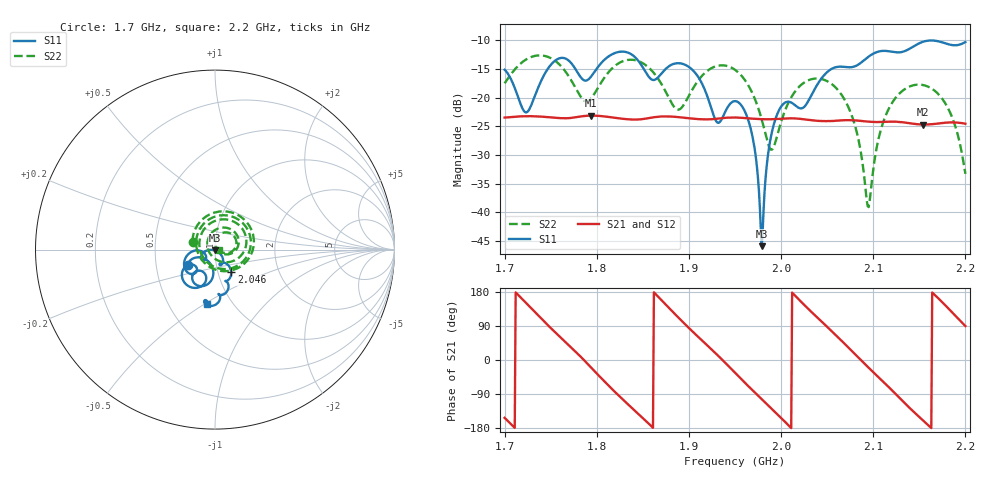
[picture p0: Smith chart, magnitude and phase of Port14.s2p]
# Hz S RI R 50
! CMT, CMT808U, 21440046, 21.4.3/4
! Date: 12/11/2025 6:04:37 PM
! Data: Format (Calibration Info)
! Freq	S11:Re/Im(F2)	S41:Re/Im(F2)	S14:Re/Im(F2)	S44:Re/Im(F2)
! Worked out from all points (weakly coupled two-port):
!   501 points, 1.7 GHz to 2.2 GHz, reference 50 ohm
!   highest |S21| = -23.13 dB at 1.794 GHz (marker M1); lowest = -24.7 dB at 2.154 GHz (marker M2)
!   lowest |S11| = -45.9 dB at 1.979 GHz (marker M3), VSWR 1.01, Z = 49.8 - j0.472 ohm
!   |S11| at or under -10 dB: start of sweep to end of sweep
!   |S22| runs from -39.1 to -12.6 dB; largest |S21 - S12| = 0.00068
!   S11 on the Smith chart (normalised r, x): 1.7 GHz: 0.73, -0.13; 2.046 GHz: 1.16, -0.30; 2.2 GHz: 0.77, -0.51
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1.7e9  -0.152 -0.0871  -0.0594 -0.0308  -0.0591 -0.0311  -0.1253 0.045
1.723e9  -0.0458 -0.0584  -0.0603 0.0333  -0.0603 0.0328  0.0286 0.2124
1.757e9  -0.0718 -0.2037  0.0249 0.0617  0.0244 0.0617  0.2011 -0.0269
1.784e9  -0.0871 -0.1171  0.0684 0.00611  0.0682 0.00658  -0.0392 -0.0903
1.794e9  -0.0512 -0.1444  0.0654 -0.0242  0.0654 -0.0236  -0.0983 -0.00821
1.831e9  -0.1691 -0.185  -0.0227 -0.0609  -0.0222 -0.0609  0.1226 0.1718
1.867e9  -0.1003 -0.1136  -0.0661 0.0164  -0.0662 0.0159  0.1051 -0.0991
1.889e9  -0.1624 -0.116  -0.024 0.063  -0.0245 0.0627  -0.0703 -0.0353
1.931e9  -0.0549 -0.0255  0.0638 0.0146  0.0636 0.0152  0.1174 0.1487
1.95e9  -0.0743 -0.0561  0.0558 -0.0371  0.056 -0.0366  0.1732 0.0244
1.968e9  -0.0492 -0.00678  0.0143 -0.064  0.0148 -0.0638  0.0911 -0.0667
1.979e9  -0.00176 -0.00474  -0.015 -0.0632  -0.0144 -0.0631  0.0182 -0.0616
1.986e9  0.0256 -0.0202  -0.0321 -0.0563  -0.0315 -0.0564  -0.0181 -0.0351
1.995e9  0.0445 -0.0528  -0.0503 -0.0411  -0.0499 -0.0415  -0.0415 0.015
2.034e9  0.0702 -0.0833  -0.0357 0.0523  -0.0361 0.052  0.099 0.1064
2.046e9  0.0905 -0.1255  -0.00724 0.0619  -0.00786 0.0619  0.13 0.0609
2.076e9  0.0581 -0.1747  0.0573 0.0272  0.0571 0.0277  0.067 -0.0269
2.095e9  0.0743 -0.2155  0.0578 -0.0214  0.0579 -0.021  0.0089 0.00661
2.117e9  0.0252 -0.2524  0.0192 -0.0586  0.0196 -0.0584  0.0181 0.0783
2.154e9  0.00292 -0.307  -0.0544 -0.0205  -0.0543 -0.021  0.1167 0.0543
2.182e9  -0.0598 -0.2852  -0.0428 0.043  -0.0432 0.0427  0.0761 -0.0186
2.2e9  -0.0419 -0.3022  0.000458 0.0591  -3.24e-05 0.0591  0.0216 -0.00132
